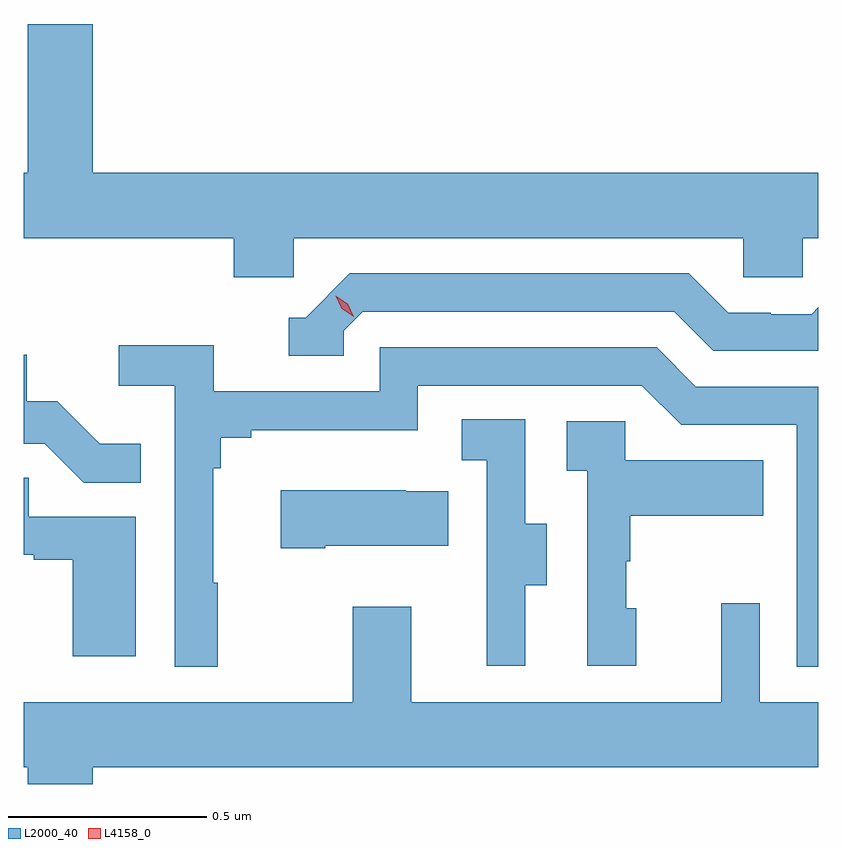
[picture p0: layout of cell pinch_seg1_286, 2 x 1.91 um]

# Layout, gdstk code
import gdstk
lib = gdstk.Library(unit=1e-6, precision=1e-09)
def P(c, l, *ps):  # polygons
    for p in ps: c.add(gdstk.Polygon(p, *l))
L2000_40 = (2000, 40)
L4158_0 = (4158, 0)

pinch_seg1_286 = lib.new_cell('pinch_seg1_286')
P(pinch_seg1_286, L2000_40, [(932.91,551.732),(934.041,551.732),(934.041,551.634),(934.191,551.634),(934.191,551.732),(934.23,551.732),(934.23,551.896),(932.404,551.896),(932.404,552.271),(932.24,552.271),(932.24,551.896),(932.23,551.896),(932.23,551.732),(932.759,551.732),(932.759,551.634),(932.91,551.634)],
  [(933.036,551.499),(933.084,551.547),(933.867,551.547),(933.966,551.448),(934.23,551.448),(934.23,551.558),(934.213,551.541),(934.11,551.541),(934.11,551.544),(934.003,551.544),(933.904,551.643),(933.051,551.643),(932.94,551.532),(932.897,551.532),(932.897,551.436),(933.036,551.436)],
  [(932.719,550.865),(932.707,550.865),(932.707,551.153),(932.726,551.153),(932.726,551.23),(932.803,551.23),(932.803,551.249),(933.222,551.249),(933.222,551.361),(933.786,551.361),(933.885,551.262),(934.176,551.262),(934.176,550.653),(934.23,550.653),(934.23,551.358),(933.922,551.358),(933.823,551.457),(933.126,551.457),(933.126,551.346),(932.708,551.346),(932.708,551.462),(932.469,551.462),(932.469,551.36),(932.61,551.36),(932.61,550.653),(932.719,550.653)],
  [(932.525,551.215),(932.421,551.215),(932.314,551.322),(932.238,551.322),(932.238,551.439),(932.23,551.439),(932.23,551.214),(932.283,551.214),(932.381,551.116),(932.525,551.116)],
  [(933.493,550.858),(933.547,550.858),(933.547,551.013),(933.492,551.013),(933.492,551.276),(933.333,551.276),(933.333,551.173),(933.396,551.173),(933.396,550.869),(933.395,550.869),(933.395,550.656),(933.493,550.656)],
  [(933.772,550.8),(933.747,550.8),(933.747,550.919),(933.757,550.919),(933.757,551.033),(934.091,551.033),(934.091,551.173),(933.744,551.173),(933.744,551.271),(933.597,551.271),(933.597,551.147),(933.648,551.147),(933.648,550.656),(933.772,550.656)],
  [(932.512,551.031),(932.243,551.031),(932.243,551.129),(932.23,551.129),(932.23,550.935),(932.255,550.935),(932.255,550.923),(932.354,550.923),(932.354,550.68),(932.512,550.68)],
  [(932.989,550.958),(933.299,550.958),(933.299,551.095),(933.191,551.095),(933.191,551.098),(932.877,551.098),(932.877,550.951),(932.989,550.951)],
  [(932.404,550.4),(934.23,550.4),(934.23,550.564),(934.083,550.564),(934.083,550.813),(933.986,550.813),(933.986,550.564),(933.205,550.564),(933.205,550.804),(933.058,550.804),(933.058,550.564),(932.23,550.564),(932.23,550.4),(932.24,550.4),(932.24,550.358),(932.404,550.358)])
P(pinch_seg1_286, L4158_0, [(933.061,551.534),(933.03,551.554),(933.015,551.587),(933.015,551.587),(933.015,551.587),(933.046,551.567),(933.061,551.534),(933.061,551.534)])

lib.write_gds('pinch_seg1_286.gds')
